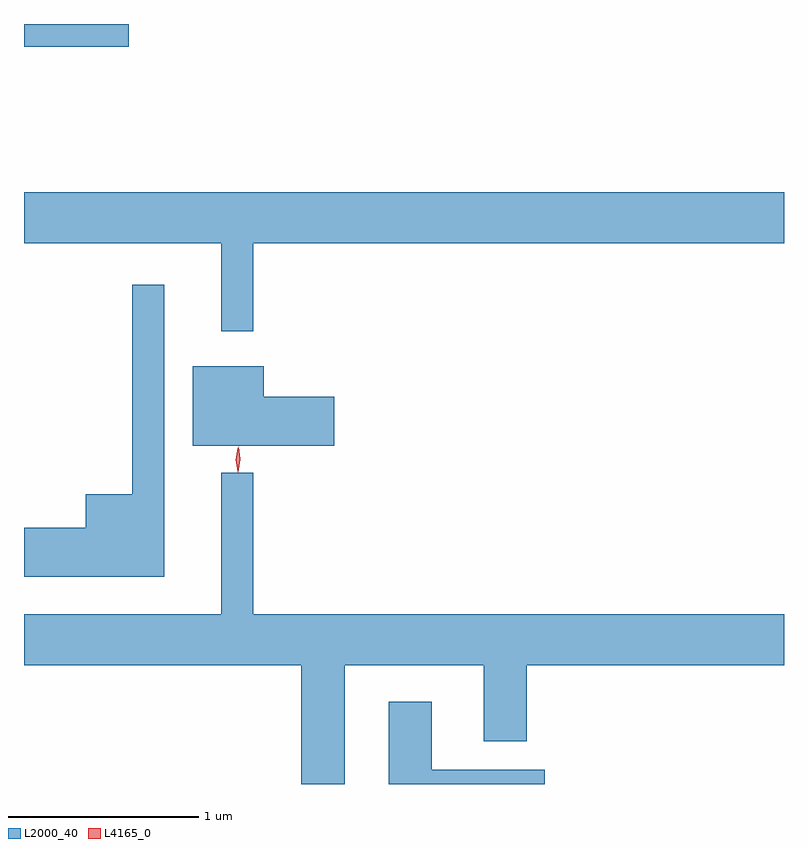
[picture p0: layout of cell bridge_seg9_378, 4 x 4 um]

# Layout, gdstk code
import gdstk
lib = gdstk.Library(unit=1e-6, precision=1e-09)
def R(c, l, rs):  # rectangles x0, y0, x1, y1
    for r in rs: c.add(gdstk.rectangle(r[:2], r[2:], *l))
def P(c, l, *ps):  # polygons
    for p in ps: c.add(gdstk.Polygon(p, *l))
L2000_40 = (2000, 40)
L4165_0 = (4165, 0)

bridge_seg9_378 = lib.new_cell('bridge_seg9_378')
R(bridge_seg9_378, L2000_40, [(982.722,1975.091,983.274,1975.21)])
P(bridge_seg9_378, L2000_40, [(983.929,1974.056),(986.722,1974.056),(986.722,1974.324),(982.722,1974.324),(982.722,1974.056),(983.761,1974.056),(983.761,1973.593),(983.929,1973.593)],
  [(983.459,1973.838),(983.291,1973.838),(983.291,1972.734),(983.046,1972.734),(983.046,1972.559),(982.722,1972.559),(982.722,1972.301),(983.459,1972.301)],
  [(984.354,1973.249),(983.984,1973.249),(983.984,1973.409),(983.611,1973.409),(983.611,1972.991),(984.354,1972.991)],
  [(984.409,1971.836),(985.141,1971.836),(985.141,1971.436),(985.369,1971.436),(985.369,1971.836),(986.722,1971.836),(986.722,1972.104),(983.929,1972.104),(983.929,1972.848),(983.761,1972.848),(983.761,1972.104),(982.722,1972.104),(982.722,1971.836),(984.181,1971.836),(984.181,1971.21),(984.409,1971.21)],
  [(985.464,1971.284),(984.869,1971.284),(984.869,1971.644),(984.641,1971.644),(984.641,1971.21),(985.464,1971.21)])
P(bridge_seg9_378, L4165_0, [(983.849,1972.85),(983.84,1972.918),(983.851,1972.985),(983.851,1972.986),(983.852,1972.985),(983.86,1972.918),(983.85,1972.85),(983.85,1972.85)],
  [(983.847,1972.853),(983.847,1972.853),(983.837,1972.916),(983.847,1972.98),(983.847,1972.98),(983.848,1972.98),(983.858,1972.916),(983.848,1972.853)])

lib.write_gds('bridge_seg9_378.gds')
